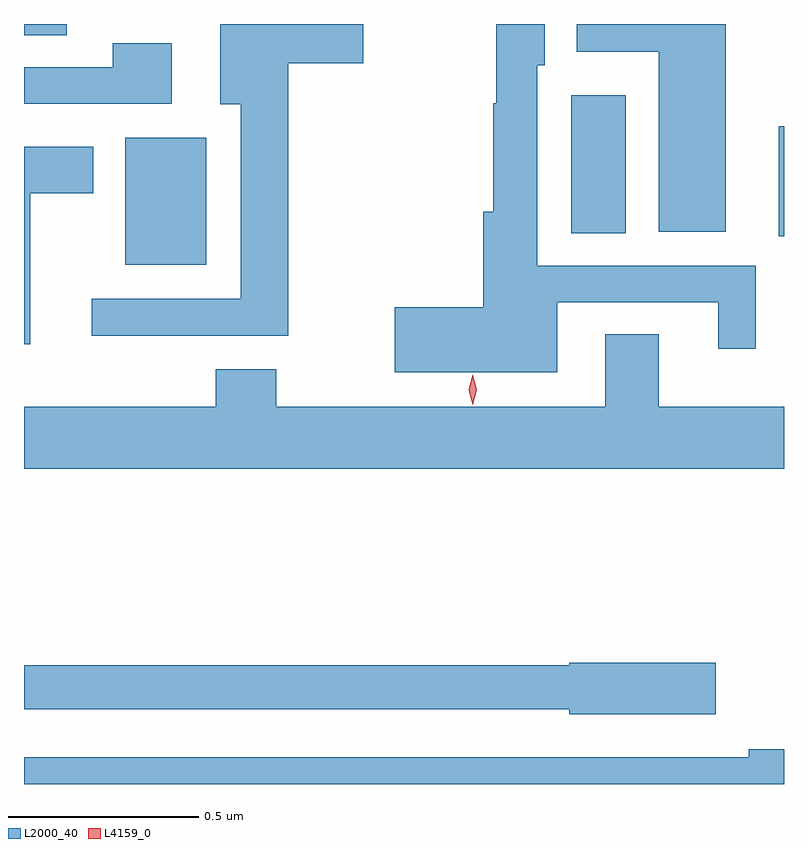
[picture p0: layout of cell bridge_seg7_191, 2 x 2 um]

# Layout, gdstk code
import gdstk
lib = gdstk.Library(unit=1e-6, precision=1e-09)
def R(c, l, rs):  # rectangles x0, y0, x1, y1
    for r in rs: c.add(gdstk.rectangle(r[:2], r[2:], *l))
def P(c, l, *ps):  # polygons
    for p in ps: c.add(gdstk.Polygon(p, *l))
L2000_40 = (2000, 40)
L4159_0 = (4159, 0)

bridge_seg7_191 = lib.new_cell('bridge_seg7_191')
R(bridge_seg7_191, L2000_40, [(382.406,1007.813,382.618,1008.148), (384.125,1007.888,384.139,1008.178), (383.579,1007.896,383.722,1008.259), (382.139,1008.418,382.251,1008.447)])
P(bridge_seg7_191, L2000_40, [(382.835,1008.344),(383.032,1008.344),(383.032,1008.447),(382.655,1008.447),(382.655,1008.236),(382.709,1008.236),(382.709,1007.724),(382.317,1007.724),(382.317,1007.627),(382.835,1007.627)],
  [(383.986,1008.447),(383.594,1008.447),(383.594,1008.374),(383.81,1008.374),(383.81,1007.9),(383.986,1007.9)],
  [(383.542,1007.715),(383.966,1007.715),(383.966,1007.592),(384.064,1007.592),(384.064,1007.811),(383.49,1007.811),(383.49,1008.339),(383.509,1008.339),(383.509,1008.447),(383.382,1008.447),(383.382,1008.239),(383.374,1008.239),(383.374,1007.953),(383.348,1007.953),(383.348,1007.702),(383.115,1007.702),(383.115,1007.531),(383.542,1007.531)],
  [(382.528,1008.397),(382.372,1008.397),(382.372,1008.333),(382.139,1008.333),(382.139,1008.237),(382.528,1008.237)],
  [(382.156,1008.002),(382.321,1008.002),(382.321,1008.124),(382.139,1008.124),(382.139,1007.604),(382.156,1007.604)],
  [(384.139,1007.44),(383.809,1007.44),(383.809,1007.63),(383.669,1007.63),(383.669,1007.44),(382.803,1007.44),(382.803,1007.539),(382.643,1007.539),(382.643,1007.44),(382.139,1007.44),(382.139,1007.276),(384.139,1007.276)],
  [(383.959,1006.766),(383.574,1006.766),(383.574,1006.76),(382.139,1006.76),(382.139,1006.644),(383.574,1006.644),(383.574,1006.631),(383.959,1006.631)],
  [(384.139,1006.538),(384.046,1006.538),(384.046,1006.518),(382.139,1006.518),(382.139,1006.447),(384.139,1006.447)])
P(bridge_seg7_191, L4159_0, [(383.32,1007.445),(383.32,1007.445),(383.31,1007.485),(383.32,1007.524),(383.32,1007.524),(383.32,1007.524),(383.33,1007.485),(383.32,1007.445)])

lib.write_gds('bridge_seg7_191.gds')
